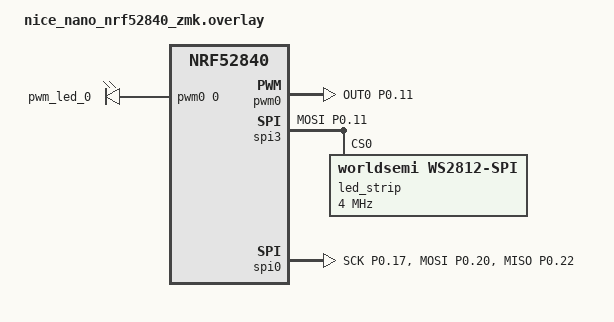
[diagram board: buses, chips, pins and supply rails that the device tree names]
/* Define board hardware details. */

#include <dt-bindings/led/led.h>

/*
Set pins for

-   Bare LED
-   Smart LEDs
-   Display

Using two-part pin numbers at
https://nicekeyboards.com/docs/nice-nano/pinout-schematic/

Set type of bare LED, smart LED, and display.
*/


&pinctrl {

    // Bare LED: using pin for PWM
    pwm0_default: pwm0_default {
        group1 {
            psels = <NRF_PSEL(PWM_OUT0, 0, 11)>;
        };
    };
    pwm0_sleep: pwm0_sleep {
        group1 {
            psels = <NRF_PSEL(PWM_OUT0, 0, 11)>;
            low-power-enable;
        };
    };

    // Smart LEDs: using same pin as bare LED, but for SPI instead
    spi3_default: spi3_default {
        group1 {
            psels = <NRF_PSEL(SPIM_MOSI, 0, 11)>;
        };
    };
    spi3_sleep: spi3_sleep {
        group1 {
            psels = <NRF_PSEL(SPIM_MOSI, 0, 11)>;
            low-power-enable;
        };
    };

    // Display: on different SPI bus.
    spi0_default: spi0_default {
        group1 {
            psels = <NRF_PSEL(SPIM_SCK, 0, 17)>,
            <NRF_PSEL(SPIM_MOSI, 0, 20)>,
            <NRF_PSEL(SPIM_MISO, 0, 22)>; /* Optional. Not used by nice!view. */
        };
    };
    spi0_sleep: spi0_sleep {
        group1 {
            psels = <NRF_PSEL(SPIM_SCK, 0, 17)>,
            <NRF_PSEL(SPIM_MOSI, 0, 20)>,
            <NRF_PSEL(SPIM_MISO, 0, 22)>; /* Optional. Not used by nice!view. */
            low-power-enable;
        };
    };
};

// Bare LED
&pwm0 {
    status = "okay";
    pinctrl-0 = <&pwm0_default>;
    pinctrl-1 = <&pwm0_sleep>;
    pinctrl-names = "default", "sleep";
};

/* SPI: LED */
&spi3 {
  compatible = "nordic,nrf-spim";
  status = "okay";

  pinctrl-0 = <&spi3_default>;
  pinctrl-1 = <&spi3_sleep>;
  pinctrl-names = "default", "sleep";

  led_strip: ws2812@0 {
    compatible = "worldsemi,ws2812-spi";

    /* SPI */
    reg = <0>; /* ignored, but necessary for SPI bindings */
    spi-max-frequency = <4000000>;

    /* WS2812 */
    chain-length = <2>; /* number of LEDs */
    spi-one-frame = <0x70>;
    spi-zero-frame = <0x40>;
    color-mapping = <LED_COLOR_ID_GREEN
                          LED_COLOR_ID_RED
                          LED_COLOR_ID_BLUE>;
  };
};

/* SPI: Display */
nice_view_spi: &spi0 {
  compatible = "nordic,nrf-spim";
  pinctrl-0 = <&spi0_default>;
  pinctrl-1 = <&spi0_sleep>;
  pinctrl-names = "default", "sleep";
  cs-gpios = <&pro_micro 0 GPIO_ACTIVE_HIGH>;
};

/ {

    backlight: pwmleds {
        compatible = "pwm-leds";
        pwm_led_0 {
            pwms = <&pwm0 0 PWM_MSEC(10) PWM_POLARITY_NORMAL>;
        };
    };

    chosen {
        zmk,underglow = &led_strip;
        zmk,backlight = &backlight;
    };
};
